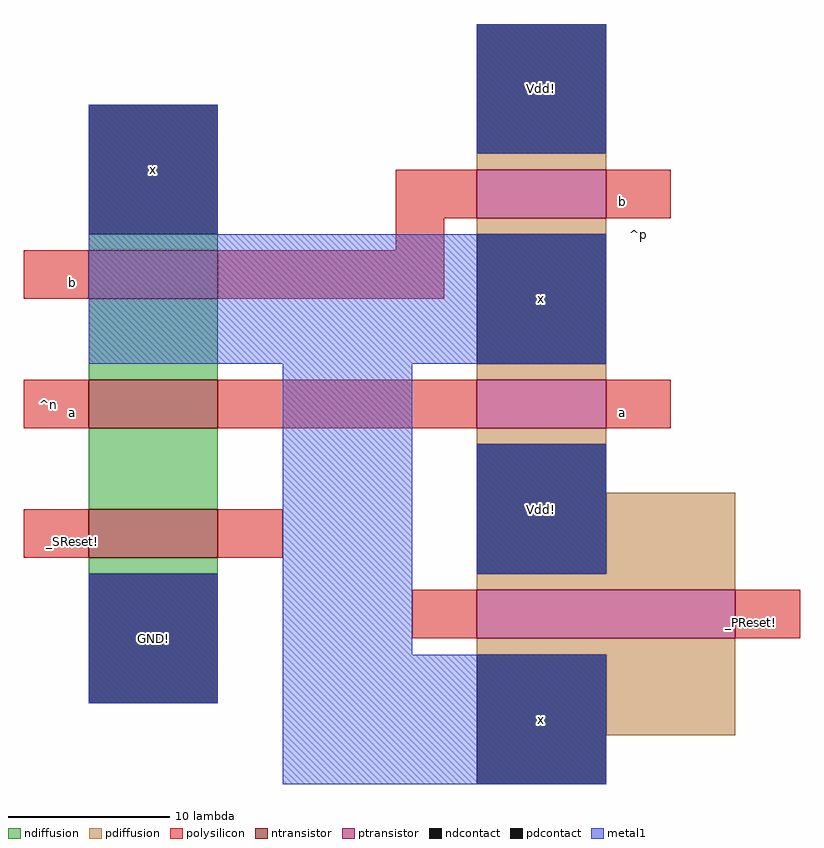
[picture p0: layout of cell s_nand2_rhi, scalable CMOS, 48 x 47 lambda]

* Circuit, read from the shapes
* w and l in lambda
.subckt s_nand2_rhi GND! Vdd! _PReset! _SReset! a b x
M1 n1 _SReset! GND! VSUBS nfet w=8 l=3
M2 n2 a n1 VSUBS nfet w=8 l=3
M3 x b n2 VSUBS nfet w=8 l=3
M4 Vdd! _PReset! x NWELL pfet w=16 l=3
M5 x a Vdd! NWELL pfet w=8 l=3
M6 Vdd! b x NWELL pfet w=8 l=3
.ends

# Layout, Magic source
magic
tech scmos
<< ndiffusion >>
rect 66 102 74 103
rect 66 94 74 99
rect 66 86 74 91
rect 66 82 74 83
<< pdiffusion >>
rect 90 107 98 108
rect 90 103 98 104
rect 90 94 98 95
rect 90 90 98 91
rect 98 82 106 87
rect 90 81 106 82
rect 90 77 106 78
rect 98 72 106 77
<< ntransistor >>
rect 66 99 74 102
rect 66 91 74 94
rect 66 83 74 86
<< ptransistor >>
rect 90 104 98 107
rect 90 91 98 94
rect 90 78 106 81
<< polysilicon >>
rect 85 104 90 107
rect 98 104 102 107
rect 85 102 88 104
rect 62 99 66 102
rect 74 99 88 102
rect 62 91 66 94
rect 74 91 90 94
rect 98 91 102 94
rect 62 83 66 86
rect 74 83 78 86
rect 86 78 90 81
rect 106 78 110 81
<< ndcontact >>
rect 66 103 74 111
rect 66 74 74 82
<< pdcontact >>
rect 90 108 98 116
rect 90 95 98 103
rect 90 82 98 90
rect 90 69 98 77
<< metal1 >>
rect 66 103 74 111
rect 90 108 98 116
rect 66 95 98 103
rect 66 74 74 82
rect 78 77 86 95
rect 90 82 98 90
rect 78 69 98 77
<< labels >>
rlabel metal1 70 107 70 107 1 x
rlabel polysilicon 65 92 65 92 3 a
rlabel polysilicon 65 100 65 100 3 b
rlabel metal1 70 78 70 78 1 GND!
rlabel polysilicon 65 84 65 84 3 _SReset!
rlabel polysilicon 99 92 99 92 1 a
rlabel polysilicon 99 105 99 105 1 b
rlabel metal1 94 86 94 86 1 Vdd!
rlabel metal1 94 112 94 112 5 Vdd!
rlabel metal1 94 99 94 99 1 x
rlabel space 61 74 66 111 7 ^n
rlabel metal1 94 73 94 73 1 x
rlabel space 97 89 103 117 3 ^p
rlabel polysilicon 107 79 107 79 1 _PReset!
<< end >>
